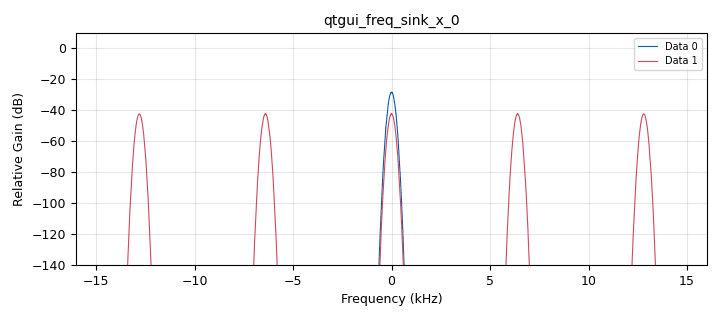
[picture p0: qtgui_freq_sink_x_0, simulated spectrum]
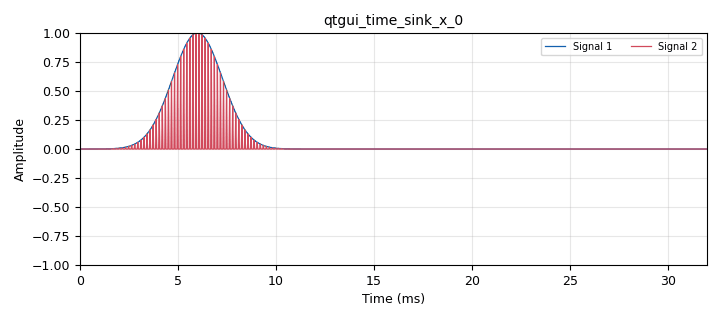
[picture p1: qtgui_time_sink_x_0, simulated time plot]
options:
  parameters:
    generate_options: qt_gui
    id: defaul
    output_language: python
    title: Not titled yet
  states: {}

blocks:
- name: dec_val
  id: variable
  parameters:
    value: '5'
  states: {}
- name: gauss_val
  id: variable
  parameters:
    value: np.exp(-np.pi*np.power(np.linspace(-5,5,1024),2.0))
  states: {}
- name: samp_rate
  id: variable
  parameters:
    value: '32000'
  states: {}
- name: blocks_throttle_0
  id: blocks_throttle
  parameters:
    samples_per_second: samp_rate
    type: float
  states: {}
- name: blocks_vector_source_x_0
  id: blocks_vector_source_x
  parameters:
    repeat: 'True'
    type: float
    vector: gauss_val
  states: {}
- name: fir_filter_xxx_0
  id: fir_filter_xxx
  parameters:
    decim: dec_val
    taps: '1'
    type: fff
  states: {}
- name: import_0
  id: import
  parameters:
    imports: import numpy as np
  states: {}
- name: interp_fir_filter_xxx_0
  id: interp_fir_filter_xxx
  parameters:
    interp: dec_val
    taps: '1'
    type: fff
  states: {}
- name: qtgui_freq_sink_x_0
  id: qtgui_freq_sink_x
  parameters:
    bw: samp_rate
    fc: '0'
    fftsize: '2096'
    nconnections: '2'
    type: float
    wintype: firdes.WIN_BLACKMAN_hARRIS
  states: {}
- name: qtgui_time_sink_x_0
  id: qtgui_time_sink_x
  parameters:
    nconnections: '2'
    size: '1024'
    srate: samp_rate
    type: float
  states: {}

connections:
- [blocks_throttle_0, '0', qtgui_freq_sink_x_0, '0']
- [blocks_throttle_0, '0', qtgui_time_sink_x_0, '0']
- [blocks_vector_source_x_0, '0', blocks_throttle_0, '0']
- [blocks_vector_source_x_0, '0', fir_filter_xxx_0, '0']
- [fir_filter_xxx_0, '0', interp_fir_filter_xxx_0, '0']
- [interp_fir_filter_xxx_0, '0', qtgui_freq_sink_x_0, '1']
- [interp_fir_filter_xxx_0, '0', qtgui_time_sink_x_0, '1']

metadata:
  file_format: 1
